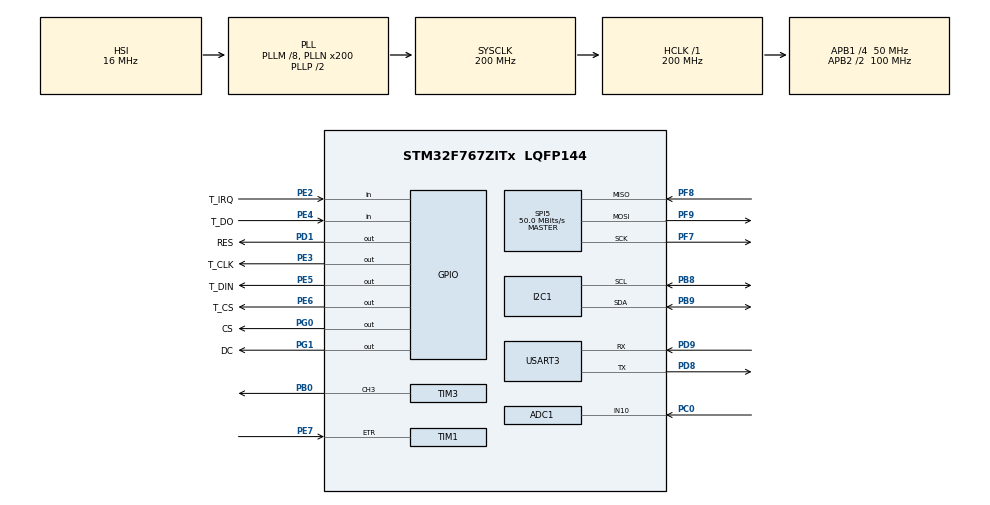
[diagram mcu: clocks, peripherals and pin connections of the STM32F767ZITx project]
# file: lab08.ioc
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ADC1.Channel-0\#ChannelRegularConversion=ADC_CHANNEL_10
ADC1.NbrOfConversionFlag=1
ADC1.Rank-0\#ChannelRegularConversion=1
ADC1.SamplingTime-0\#ChannelRegularConversion=ADC_SAMPLETIME_3CYCLES
ADC1.master=1
CORTEX_M7.ART_ACCELERATOR_ENABLE=1
CORTEX_M7.CPU_DCache=Enabled
CORTEX_M7.CPU_ICache=Enabled
CORTEX_M7.MPU_Control=__NULL
CORTEX_M7.PREFETCH_ENABLE=1
CORTEX_M7.default_mode_Activation=1
I2C1.Timing=0x00C0EAFF
Mcu.Family=STM32F7
Mcu.Name=STM32F767ZITx
Mcu.Package=LQFP144
NVIC.PriorityGroup=NVIC_PRIORITYGROUP_4
PB0.Signal=S_TIM3_CH3
PB8.Mode=I2C
PB8.Signal=I2C1_SCL
PB9.Mode=I2C
PB9.Signal=I2C1_SDA
PC0.Signal=ADCx_IN10
PD1.GPIO_Label=RES
PD1.GPIO_Speed=GPIO_SPEED_FREQ_VERY_HIGH
PD1.Signal=GPIO_Output
PD8.Mode=Asynchronous
PD8.Signal=USART3_TX
PD9.Mode=Asynchronous
PD9.Signal=USART3_RX
PE2.GPIO_Label=T_IRQ
PE2.Signal=GPIO_Input
PE3.GPIO_Label=T_CLK
PE3.GPIO_Speed=GPIO_SPEED_FREQ_VERY_HIGH
PE3.Signal=GPIO_Output
PE4.GPIO_Label=T_DO
PE4.Signal=GPIO_Input
PE5.GPIO_Label=T_DIN
PE5.GPIO_Speed=GPIO_SPEED_FREQ_VERY_HIGH
PE5.Signal=GPIO_Output
PE6.GPIO_Label=T_CS
PE6.Signal=GPIO_Output
PE7.Signal=S_TIM1_ETR
PF7.Mode=Full_Duplex_Master
PF7.Signal=SPI5_SCK
PF8.Mode=Full_Duplex_Master
PF8.Signal=SPI5_MISO
PF9.Mode=Full_Duplex_Master
PF9.Signal=SPI5_MOSI
PG0.GPIO_Label=CS
PG0.GPIO_Speed=GPIO_SPEED_FREQ_VERY_HIGH
PG0.Signal=GPIO_Output
PG1.GPIO_Label=DC
PG1.GPIO_Speed=GPIO_SPEED_FREQ_VERY_HIGH
PG1.Signal=GPIO_Output
PH0/OSC_IN.Mode=HSE-External-Oscillator
PH0/OSC_IN.Signal=RCC_OSC_IN
PH1/OSC_OUT.Mode=HSE-External-Oscillator
PH1/OSC_OUT.Signal=RCC_OSC_OUT
ProjectManager.HeapSize=0x200
ProjectManager.StackSize=0x400
ProjectManager.TargetToolchain=STM32CubeIDE
RCC.AHBFreq_Value=200000000
RCC.APB1CLKDivider=RCC_HCLK_DIV4
RCC.APB1Freq_Value=50000000
RCC.APB1TimFreq_Value=100000000
RCC.APB2CLKDivider=RCC_HCLK_DIV2
RCC.APB2Freq_Value=100000000
RCC.APB2TimFreq_Value=200000000
RCC.CortexFreq_Value=200000000
RCC.HCLKFreq_Value=200000000
RCC.HSE_VALUE=25000000
RCC.HSI_VALUE=16000000
RCC.LSE_VALUE=32768
RCC.PLLM=8
RCC.PLLN=200
RCC.PLLQ=9
RCC.SYSCLKFreq_VALUE=200000000
RCC.SYSCLKSource=RCC_SYSCLKSOURCE_PLLCLK
RCC.USBFreq_Value=44444444.44444445
RCC.VCOOutputFreq_Value=400000000
SH.ADCx_IN10.0=ADC1_IN10,IN10
SH.S_TIM1_ETR.0=TIM1_ETR,ClockSourceETR_Mode2
SH.S_TIM3_CH3.0=TIM3_CH3,PWM Generation3 CH3
SPI5.CalculateBaudRate=50.0 MBits/s
SPI5.DataSize=SPI_DATASIZE_8BIT
SPI5.Direction=SPI_DIRECTION_2LINES
SPI5.Mode=SPI_MODE_MASTER
SPI5.NSSPMode=SPI_NSS_PULSE_DISABLE
SPI5.VirtualType=VM_MASTER
TIM1.ClockDivision=TIM_CLOCKDIVISION_DIV2
TIM1.Period=0
TIM1.Prescaler=10000
TIM3.Channel-PWM\ Generation3\ CH3=TIM_CHANNEL_3
TIM3.Period=999
TIM3.Prescaler=99
USART3.VirtualMode-Asynchronous=VM_ASYNC
VP_RNG_VS_RNG.Mode=RNG_Activate
VP_TIM3_VS_ClockSourceINT.Mode=Internal
board=custom

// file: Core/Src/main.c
/* USER CODE BEGIN Header */
/**
  ******************************************************************************
  * @file           : main.c
  * @brief          : Main program body
  ******************************************************************************
  * @attention
  *
  * Copyright (c) 2026 STMicroelectronics.
  * All rights reserved.
  *
  * This software is licensed under terms that can be found in the LICENSE file
  * in the root directory of this software component.
  * If no LICENSE file comes with this software, it is provided AS-IS.
  *
  ******************************************************************************
  */
/* USER CODE END Header */
#include "main.h"
#include "adc.h"
#include "i2c.h"
#include "rng.h"
#include "spi.h"
#include "tim.h"
#include "usart.h"
#include "gpio.h"

/* USER CODE BEGIN Includes */
#include "ILI9341_STM32_Driver.h"
#include "ILI9341_GFX.h"
#include "ILI9341_Touchscreen.h"
#include "photo.h"
#include <stdio.h>
#include <math.h>
/* USER CODE END Includes */

/* USER CODE BEGIN PTD */
typedef enum { SCR_1, SCR_2 } Screen_t;
/* USER CODE END PTD */

/* USER CODE BEGIN PD */
#define TOP_H     50
#define ROW_H     63
#define BAR_X0    40
#define BAR_X1    225
#define BAR_W     185
#define BAR_HH    8
#define CIRC_X    22
#define CIRC_R    13
#define ROW1_CY   81
#define ROW2_CY   144
#define ROW3_CY   207
#define MIX_CX    155
#define MIX_CY    25
#define MIX_R     18

// Touch calibration — raw ADC corner values from 4-point calibration on this board
// Re-run calibration if touch feels off (tap corners, read serial, update these 4 numbers)
#define TS_X_MIN    9     // pos[1] when tapping left edge
#define TS_X_RANGE  318   // (pos[1] at right edge 327) - TS_X_MIN
#define TS_Y_MAX    238   // pos[0] when tapping top edge (Y axis is inverted)
#define TS_Y_RANGE  221   // TS_Y_MAX - (pos[0] at bottom edge 17)
/* USER CODE END PD */

/* USER CODE BEGIN PV */
static float r_pct = 0.5f, g_pct = 0.3f, b_pct = 0.7f;
static float temp_c = 27.0f, hum_rh = 55.0f;
static Screen_t cur_scr = SCR_1;
static uint32_t scr2_tick = 0;
static uint32_t sensor_tick = 0;
static uint32_t touch_tick = 0;
static uint32_t display_tick = 0;
/* USER CODE END PV */

void SystemClock_Config(void);
/* USER CODE BEGIN PFP */
uint16_t CRC16_2(uint8_t *ptr, uint8_t length);
/* USER CODE END PFP */

/* USER CODE BEGIN 0 */
static void draw_region(uint16_t x0, uint16_t y0, uint16_t x1, uint16_t y1, const uint16_t *data) {
    ILI9341_Set_Address(x0, y0, x1, y1);
    ILI9341_Write_Command(0x2C);
    uint32_t n = (uint32_t)(x1-x0+1) * (y1-y0+1);
    for (uint32_t i = 0; i < n; i++) {
        ILI9341_Write_Data(data[i] >> 8);
        ILI9341_Write_Data(data[i] & 0xFF);
    }
}

static uint16_t rgb565(uint8_t r, uint8_t g, uint8_t b) {
    return ((uint16_t)(r >> 3) << 11) | ((uint16_t)(g >> 2) << 5) | (b >> 3);
}

static uint8_t hit_circle(uint16_t tx, uint16_t ty, uint16_t cx, uint16_t cy, uint16_t r) {
    int32_t dx = (int32_t)tx - cx, dy = (int32_t)ty - cy;
    return dx*dx + dy*dy <= (int32_t)(r*r);
}

// Returns 1 if touch is on a bar row; writes 0.0–1.0 value based on X position
static uint8_t hit_bar(uint16_t tx, uint16_t ty, uint16_t cy, float *out) {
    if (tx < BAR_X0 || tx > BAR_X1) return 0;
    if (ty < cy - BAR_HH - 10 || ty > cy + BAR_HH + 10) return 0;
    *out = (float)(tx - BAR_X0) / (float)BAR_W;  // tx in [BAR_X0..BAR_X1] so result is always 0.0–1.0
    return 1;
}

static void draw_bar(uint16_t cy, float pct, uint16_t col) {
    uint16_t fw = (uint16_t)(pct * BAR_W);
    if (fw > 0)
        ILI9341_Draw_Filled_Rectangle_Coord(BAR_X0, cy - BAR_HH, BAR_X0 + fw, cy + BAR_HH, col);
    if (fw < BAR_W)
        ILI9341_Draw_Filled_Rectangle_Coord(BAR_X0 + fw, cy - BAR_HH, BAR_X1, cy + BAR_HH, LIGHTGREY);
}

static void update_scr1(void) {
    char buf[24];

    // Mixed colour circle — scale 0.0–1.0 to 0–255 per channel
    uint16_t mixed_color = rgb565(
        (uint8_t)(r_pct * 255),
        (uint8_t)(g_pct * 255),
        (uint8_t)(b_pct * 255)
    );
    ILI9341_Draw_Filled_Circle(MIX_CX, MIX_CY, MIX_R, mixed_color);
    ILI9341_Draw_Hollow_Circle(MIX_CX, MIX_CY, MIX_R, BLACK);

    // Temperature — multiply by 10 so snprintf can print one decimal without float support
    // e.g. 27.2°C → t10=272 → "%d.%d" with 27 and 2
    int32_t t10 = (int32_t)roundf(temp_c * 10);
    snprintf(buf, sizeof(buf), "%d.%dC ", t10 / 10, (t10 < 0 ? -t10 : t10) % 10);
    ILI9341_Draw_Text(buf, 5, 17, BLACK, 2, WHITE);

    // Humidity — same trick; always positive so no sign handling needed
    int32_t h10 = (int32_t)roundf(hum_rh * 10);
    snprintf(buf, sizeof(buf), "%d.%d%%RH", h10 / 10, h10 % 10);
    ILI9341_Draw_Text(buf, 175, 17, BLACK, 2, WHITE);

    // RGB bars and percentage labels
    draw_bar(ROW1_CY, r_pct, RED);
    draw_bar(ROW2_CY, g_pct, GREEN);
    draw_bar(ROW3_CY, b_pct, BLUE);

    float   *channels[3] = { &r_pct, &g_pct, &b_pct };
    uint16_t label_y[3]  = { ROW1_CY - BAR_HH, ROW2_CY - BAR_HH, ROW3_CY - BAR_HH };
    for (int i = 0; i < 3; i++) {
        snprintf(buf, 8, "%d%%", (int)(*channels[i] * 100));
        ILI9341_Draw_Text(buf, 230, label_y[i], BLACK, 1, WHITE);
    }
}

static void draw_scr1(void) {
    ILI9341_Fill_Screen(WHITE);
    ILI9341_Draw_Horizontal_Line(0, TOP_H, 320, DARKGREY);
    ILI9341_Draw_Horizontal_Line(0, TOP_H + ROW_H,     320, LIGHTGREY);
    ILI9341_Draw_Horizontal_Line(0, TOP_H + 2*ROW_H,   320, LIGHTGREY);
    ILI9341_Draw_Filled_Circle(CIRC_X, ROW1_CY, CIRC_R, RED);
    ILI9341_Draw_Filled_Circle(CIRC_X, ROW2_CY, CIRC_R, GREEN);
    ILI9341_Draw_Filled_Circle(CIRC_X, ROW3_CY, CIRC_R, BLUE);
    update_scr1();
}

static void draw_scr2(void) {
    uint16_t mc = rgb565((uint8_t)(r_pct*255), (uint8_t)(g_pct*255), (uint8_t)(b_pct*255));
    ILI9341_Fill_Screen(WHITE);
    draw_region(5, 10, 104, 129, photo_data);
    ILI9341_Draw_Text("Group No.12", 115, 30, mc, 2, WHITE);
    ILI9341_Draw_Text("Maris", 115, 68, mc, 2, WHITE);
    ILI9341_Draw_Text("Methamaneechote", 115, 98, mc, 2, WHITE);
    ILI9341_Draw_Text("67011162", 115, 128, mc, 2, WHITE);
    ILI9341_Draw_Text("Touch photo/5s->Scr1", 5, 170, DARKGREY, 1, WHITE);
}

static uint8_t read_am2320(void) {
    uint8_t cmd[3] = {0x03, 0x00, 0x04}, buf[8] = {0};
    HAL_I2C_Master_Transmit(&hi2c1, 0x5C << 1, NULL, 0, 200); // wake (expect NACK)
    HAL_Delay(1);
    if (HAL_I2C_Master_Transmit(&hi2c1, 0x5C << 1, cmd, 3, 200) != HAL_OK) return 0;
    HAL_Delay(2);
    if (HAL_I2C_Master_Receive(&hi2c1, 0x5C << 1, buf, 8, 200) != HAL_OK) return 0;
    uint16_t rcrc = (buf[7] << 8) | buf[6];
    if (rcrc != CRC16_2(buf, 6)) return 0;
    uint16_t raw_t = ((buf[4] & 0x7F) << 8) | buf[5];
    temp_c = (buf[4] & 0x80) ? -(raw_t / 10.0f) : (raw_t / 10.0f);
    hum_rh = ((buf[2] << 8) | buf[3]) / 10.0f;
    return 1;
}
/* USER CODE END 0 */

int main(void)
{

  /* Enable the CPU Cache */

  /* Enable I-Cache---------------------------------------------------------*/
  SCB_EnableICache();

  /* Enable D-Cache---------------------------------------------------------*/
  SCB_EnableDCache();

  /* MCU Configuration--------------------------------------------------------*/

  /* Reset of all peripherals, Initializes the Flash interface and the Systick. */
  HAL_Init();

  /* Configure the system clock */
  SystemClock_Config();

  /* Initialize all configured peripherals */
  MX_GPIO_Init();
  MX_ADC1_Init();
  MX_RNG_Init();
  MX_SPI5_Init();
  MX_TIM1_Init();
  MX_USART3_UART_Init();
  MX_I2C1_Init();
  MX_TIM3_Init();
  /* USER CODE BEGIN 2 */
  HAL_TIM_PWM_Start(&htim3, TIM_CHANNEL_3);
  ILI9341_Init();
  ILI9341_Set_Rotation(SCREEN_HORIZONTAL_1);
  draw_scr1();
  /* USER CODE END 2 */

  /* Infinite loop */
  while (1)
  {

    /* USER CODE BEGIN 3 */
    uint32_t now = HAL_GetTick();

    // Screen 2: auto-return after 5s
    if (cur_scr == SCR_2 && now - scr2_tick >= 5000) {
      cur_scr = SCR_1;
      draw_scr1();
    }

    // Backlight: potentiometer → 20-100% duty (ARR=999)
    HAL_ADC_Start(&hadc1);
    if (HAL_ADC_PollForConversion(&hadc1, 5) == HAL_OK) {
      uint32_t adc = HAL_ADC_GetValue(&hadc1);
      uint32_t duty = 200 + (adc * 800) / 4095;  // 200..999 = 20%..100%
      __HAL_TIM_SET_COMPARE(&htim3, TIM_CHANNEL_3, duty);
    }
    HAL_ADC_Stop(&hadc1);

    // Sensor update every 2s (AM2320 min read interval)
    if (now - sensor_tick >= 2000) {
      sensor_tick = now;
      read_am2320();
    }

    // Display update every 100ms — keeps screen values current without flicker
    if (cur_scr == SCR_1 && now - display_tick >= 100) {
      display_tick = now;
      update_scr1();
    }

    // Touch (debounce 200ms)
    if (now - touch_tick >= 200 && TP_Touchpad_Pressed()) {
      touch_tick = now;
      uint16_t pos[2];
      if (TP_Read_Coordinates(pos) == TOUCHPAD_DATA_OK) {
        // Remap touch coords to screen coords (axes swapped + scaled from calibration)
        int32_t sx = ((int32_t)pos[1] - TS_X_MIN) * 320 / TS_X_RANGE;
        int32_t sy = (TS_Y_MAX - (int32_t)pos[0]) * 240 / TS_Y_RANGE;
        sx = sx < 0 ? 0 : sx > 319 ? 319 : sx;
        sy = sy < 0 ? 0 : sy > 239 ? 239 : sy;
        uint16_t tx = (uint16_t)sx, ty = (uint16_t)sy;
        if (cur_scr == SCR_1) {
          if (hit_circle(tx, ty, MIX_CX, MIX_CY, MIX_R + 5)) {
            // touch mixed-colour circle → switch to screen 2
            cur_scr = SCR_2; scr2_tick = now; draw_scr2();
          } else if (hit_bar(tx, ty, ROW1_CY, &r_pct)) {
            // touch red bar → set red from X position
          } else if (hit_bar(tx, ty, ROW2_CY, &g_pct)) {
            // touch green bar → set green from X position
          } else if (hit_bar(tx, ty, ROW3_CY, &b_pct)) {
            // touch blue bar → set blue from X position
          } else if (hit_circle(tx, ty, CIRC_X, ROW1_CY, CIRC_R+8)) {
            r_pct += 0.1f; if (r_pct > 1.01f) r_pct = 0.0f;
          } else if (hit_circle(tx, ty, CIRC_X, ROW2_CY, CIRC_R+8)) {
            g_pct += 0.1f; if (g_pct > 1.01f) g_pct = 0.0f;
          } else if (hit_circle(tx, ty, CIRC_X, ROW3_CY, CIRC_R+8)) {
            b_pct += 0.1f; if (b_pct > 1.01f) b_pct = 0.0f;
          }
        } else {
          // Screen 2: touch photo area → return
          if (tx >= 5 && tx <= 105 && ty >= 10 && ty <= 130) {
            cur_scr = SCR_1; draw_scr1();
          }
        }
      }
    }
  }
  /* USER CODE END 3 */
}

void SystemClock_Config(void)
{
  RCC_OscInitTypeDef RCC_OscInitStruct = {0};
  RCC_ClkInitTypeDef RCC_ClkInitStruct = {0};

  /** Configure the main internal regulator output voltage
  */
  __HAL_RCC_PWR_CLK_ENABLE();
  __HAL_PWR_VOLTAGESCALING_CONFIG(PWR_REGULATOR_VOLTAGE_SCALE1);

  /** Initializes the RCC Oscillators according to the specified parameters
  * in the RCC_OscInitTypeDef structure.
  */
  RCC_OscInitStruct.OscillatorType = RCC_OSCILLATORTYPE_HSI;
  RCC_OscInitStruct.HSIState = RCC_HSI_ON;
  RCC_OscInitStruct.HSICalibrationValue = RCC_HSICALIBRATION_DEFAULT;
  RCC_OscInitStruct.PLL.PLLState = RCC_PLL_ON;
  RCC_OscInitStruct.PLL.PLLSource = RCC_PLLSOURCE_HSI;
  RCC_OscInitStruct.PLL.PLLM = 8;
  RCC_OscInitStruct.PLL.PLLN = 200;
  RCC_OscInitStruct.PLL.PLLP = RCC_PLLP_DIV2;
  RCC_OscInitStruct.PLL.PLLQ = 9;
  RCC_OscInitStruct.PLL.PLLR = 2;
  if (HAL_RCC_OscConfig(&RCC_OscInitStruct) != HAL_OK)
  {
    Error_Handler();
  }

  /** Activate the Over-Drive mode
  */
  if (HAL_PWREx_EnableOverDrive() != HAL_OK)
  {
    Error_Handler();
  }

  /** Initializes the CPU, AHB and APB buses clocks
  */
  RCC_ClkInitStruct.ClockType = RCC_CLOCKTYPE_HCLK|RCC_CLOCKTYPE_SYSCLK
                              |RCC_CLOCKTYPE_PCLK1|RCC_CLOCKTYPE_PCLK2;
  RCC_ClkInitStruct.SYSCLKSource = RCC_SYSCLKSOURCE_PLLCLK;
  RCC_ClkInitStruct.AHBCLKDivider = RCC_SYSCLK_DIV1;
  RCC_ClkInitStruct.APB1CLKDivider = RCC_HCLK_DIV4;
  RCC_ClkInitStruct.APB2CLKDivider = RCC_HCLK_DIV2;

  if (HAL_RCC_ClockConfig(&RCC_ClkInitStruct, FLASH_LATENCY_6) != HAL_OK)
  {
    Error_Handler();
  }
}

/* USER CODE BEGIN 4 */
uint16_t CRC16_2(uint8_t *ptr, uint8_t length) {
    uint16_t crc = 0xFFFF;
    while (length--) {
        crc ^= *ptr++;
        for (uint8_t s = 0; s < 8; s++) {
            if (crc & 0x01) { crc >>= 1; crc ^= 0xA001; }
            else              { crc >>= 1; }
        }
    }
    return crc;
}
/* USER CODE END 4 */

void Error_Handler(void)
{
  __disable_irq();
  while (1)
  {
  }
}
